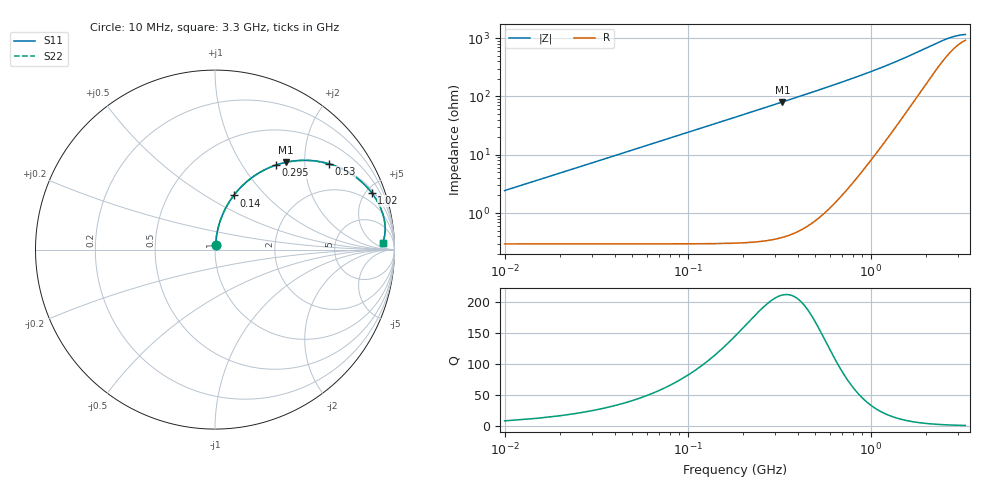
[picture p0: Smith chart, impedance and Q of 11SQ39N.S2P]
! Coilcraft 1111SQ-39N Air Core Inductor
! 14 MAR 2012
# MHZ S MA R 50
!Freq  MagS11  AngS11  MagS21  AngS21  MagS12  AngS12  MagS22  AngS22
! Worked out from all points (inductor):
!   659 points, 10 MHz to 3.3 GHz, reference 50 ohm
!   read as one part in series: L = 38.4 nH near 25 MHz
!   highest Q = 211 at 330 MHz (marker M1), where L = 38.8 nH
!   S11 on the Smith chart (normalised r, x): 10 MHz: 1.01, +0.05; 140 MHz: 1.01, +0.68; 295 MHz: 1.01, +1.43; 530 MHz: 1.02, +2.63; 1.02 GHz: 1.18, +5.46; 3.3 GHz: 21, +13
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10  0.02419 81.6  0.9968 -1.4  0.9968 -1.4  0.02419 81.6
20  0.04807 83.7  0.9959 -2.8  0.9959 -2.8  0.04807 83.7
30  0.07193 83.5  0.9945 -4.1  0.9945 -4.1  0.07193 83.5
35  0.08382 83.2  0.9936 -4.8  0.9936 -4.8  0.08382 83.2
45  0.1075 82.3  0.9913 -6.2  0.9913 -6.2  0.1075 82.3
60  0.1427 80.6  0.9869 -8.2  0.9869 -8.2  0.1427 80.6
75  0.1774 78.8  0.9812 -10.2  0.9812 -10.2  0.1774 78.8
95  0.2226 76.4  0.972 -12.9  0.972 -12.9  0.2226 76.4
140  0.3193 70.9  0.9449 -18.6  0.9449 -18.6  0.3193 70.9
210  0.4518 62.8  0.8893 -26.9  0.8893 -26.9  0.4518 62.8
295  0.5812 54.1  0.8109 -35.6  0.8109 -35.6  0.5812 54.1
330  0.6249 51.0  0.7777 -38.7  0.7777 -38.7  0.6249 51.0
420  0.7155 44.0  0.695 -45.7  0.695 -45.7  0.7155 44.0
530  0.7929 37.1  0.6042 -52.5  0.6042 -52.5  0.7929 37.1
560  0.8092 35.5  0.5817 -54.1  0.5817 -54.1  0.8092 35.5
765  0.8848 26.9  0.4535 -62.3  0.4535 -62.3  0.8848 26.9
1020  0.9289 19.9  0.3421 -68.3  0.3421 -68.3  0.9289 19.9
1110  0.9377 18.0  0.3118 -69.7  0.3118 -69.7  0.9377 18.0
1655  0.9573 10.5  0.188 -71.8  0.188 -71.8  0.9573 10.5
2205  0.954 6.4  0.1231 -65.0  0.1231 -65.0  0.954 6.4
2755  0.9447 4.0  0.09149 -51.0  0.09149 -51.0  0.9447 4.0
3300  0.9345 2.4  0.08077 -34.9  0.08077 -34.9  0.9345 2.4
